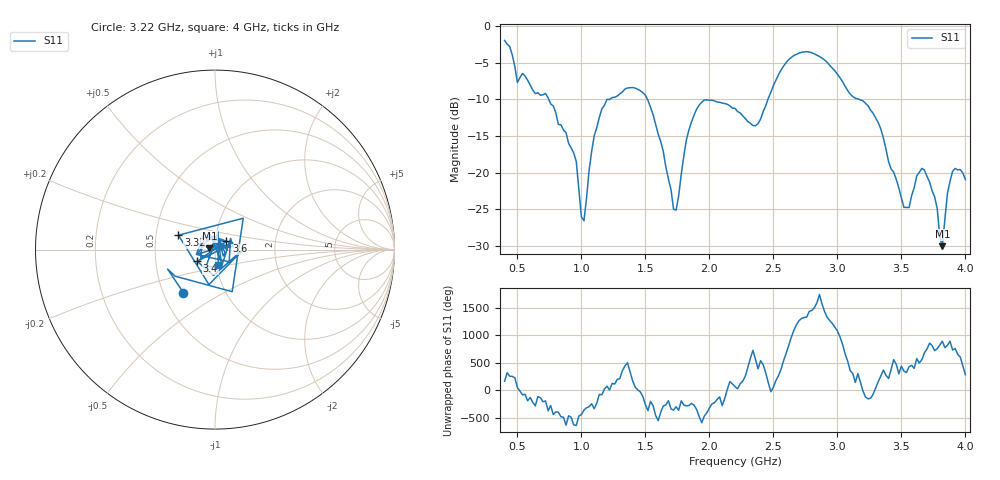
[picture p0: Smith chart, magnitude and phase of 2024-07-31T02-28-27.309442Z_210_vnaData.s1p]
!Created with skrf (http://scikit-rf.org).
# Hz S RI R 50.0
!freq ReS11 ImS11
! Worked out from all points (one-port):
!   181 points, 400 MHz to 4 GHz, reference 50 ohm
!   lowest |S11| = -30.0 dB at 3.82 GHz (marker M1), VSWR 1.07, Z = 47 + j0.585 ohm
!   |S11| at or under -10 dB: 744.7 MHz to 1.2 GHz (455.1 MHz wide, 46.8 % of centre); 1.516 GHz to 2.457 GHz (941.3 MHz wide, 47.4 % of centre); 3.17 GHz to end of sweep (the widest 3 of 4)
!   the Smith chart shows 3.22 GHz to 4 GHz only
!   S11 on the Smith chart (normalised r, x): 3.22 GHz: 0.63, -0.33; 3.32 GHz: 0.65, +0.11; 3.4 GHz: 0.81, -0.11; 3.6 GHz: 1.13, +0.11; 4 GHz: 1.02, -0.18
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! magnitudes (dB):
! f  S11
! 400 MHz  -2.0
! 500 MHz  -7.7
! 720 MHz  -9.2
! 860 MHz  -14.2
! 960 MHz  -18.5
! 1.02 GHz  -26.5
! 1.08 GHz  -17.1
! 1.14 GHz  -12.5
! 1.3 GHz  -9.3
! 1.5 GHz  -9.4
! 1.72 GHz  -25.0
! 1.76 GHz  -23.1
! 1.82 GHz  -15.5
! 1.92 GHz  -10.8
! 2.2 GHz  -11.2
! 2.38 GHz  -13.3
! 2.66 GHz  -4.0
! 2.88 GHz  -4.4
! 3.1 GHz  -9.3
! 3.22 GHz  -10.5
! 3.32 GHz  -13.2
! 3.4 GHz  -18.5
! 3.56 GHz  -24.7
! 3.6 GHz  -22.0
! 3.68 GHz  -19.6
! 3.82 GHz  -30.0
! 3.9 GHz  -19.8
! 4 GHz  -20.9
